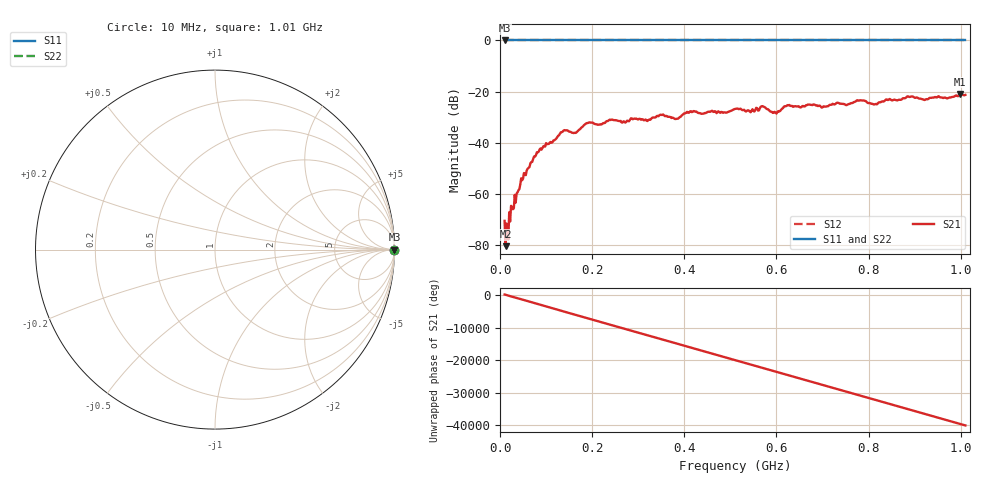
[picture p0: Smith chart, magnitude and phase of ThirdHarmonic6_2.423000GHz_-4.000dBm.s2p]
! 8/17/2025 4:08:36 AM
! C:\ANRITSUVNA\TEMP\TEMP.S2P
! CHANNEL.1
! TR.MEASUREMENT
! RAW.DATA
! RF.CORRECTION.OFF
! AVERAGING.OFF
! IF.BANDWIDTH: 5KHZ
! SWEEPTYPE:  FREQ.SWEEP(Linear)
! Reference Plane Port Info
! PORT:  PORT1  PORT2
! DISTANCE:  0  m  0  m
! TIME:  0  s  0  s
! PHASE.OFFSET:  0  deg.  0  deg.
! LOSS:  0  dB  0  dB
! REF.LOSS:  0  dB  0  dB
! REF.FREQ:  0  Hz  0  Hz
! Power Info
! POWER:  -20  dBm  -20  dBm
! EFF.POWER:  -20  dBm  -20  dBm
! SOURCE.ATTEN:  0  dB  0  dB
! TEST.ATTEN:  0  dB  0  dB
# GHZ S RI R 50.0
! FREQ.GHZ  S11RE  S11IM  S21RE  S21IM  S12RE  S12IM  S22RE  S22IM
!; PortSelection: Port_12
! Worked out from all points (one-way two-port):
!   501 points, 10 MHz to 1.01 GHz, reference 50 ohm
!   highest |S21| = -20.90 dB at 998 MHz (marker M1); lowest = -80.4 dB at 12 MHz (marker M2)
!   lowest |S11| = 0.0 dB at 10 MHz (marker M3)
!   |S11| at or under -10 dB: nowhere
!   |S22| runs from 0.0 to 0.0 dB; largest |S21 - S12| = 1.1
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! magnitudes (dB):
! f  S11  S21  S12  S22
! 10 MHz  0.0  -70.5  0.0  0.0
! 12 MHz  0.0  -80.4  0.0  0.0
! 16 MHz  0.0  -73.9  0.0  0.0
! 24 MHz  0.0  -64.6  0.0  0.0
! 50 MHz  0.0  -54.0  0.0  0.0
! 84 MHz  0.0  -43.4  0.0  0.0
! 136 MHz  0.0  -35.6  0.0  0.0
! 162 MHz  0.0  -36.1  0.0  0.0
! 178 MHz  0.0  -33.9  0.0  0.0
! 344 MHz  0.0  -29.6  0.0  0.0
! 382 MHz  0.0  -30.7  0.0  0.0
! 410 MHz  0.0  -28.3  0.0  0.0
! 510 MHz  0.0  -26.7  0.0  0.0
! 570 MHz  0.0  -25.7  0.0  0.0
! 596 MHz  0.0  -27.9  0.0  0.0
! 624 MHz  0.0  -25.3  0.0  0.0
! 678 MHz  0.0  -25.2  0.0  0.0
! 780 MHz  0.0  -23.4  0.0  0.0
! 814 MHz  0.0  -24.9  0.0  0.0
! 844 MHz  0.0  -23.0  0.0  0.0
! 998 MHz  0.0  -20.9  0.0  0.0
! 1.01 GHz  0.0  -21.3  0.0  0.0
